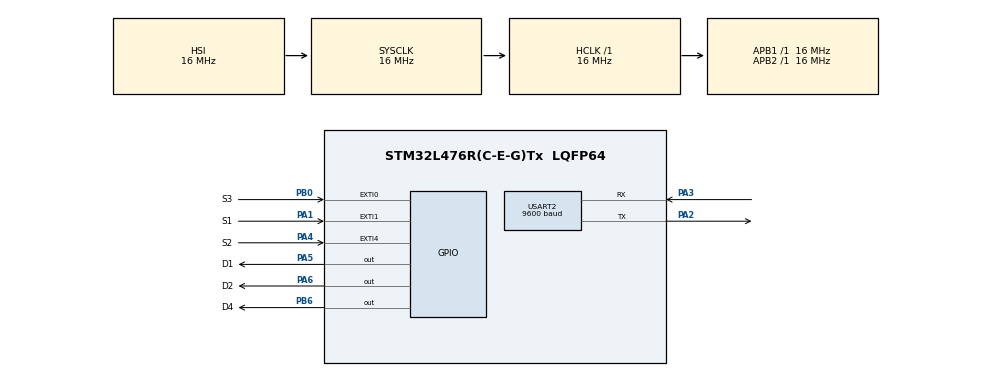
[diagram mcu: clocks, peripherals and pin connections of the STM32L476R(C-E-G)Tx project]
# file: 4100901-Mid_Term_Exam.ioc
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Mcu.Family=STM32L4
Mcu.Name=STM32L476R(C-E-G)Tx
Mcu.Package=LQFP64
NVIC.EXTI0_IRQn=true\:0\:0\:false\:false\:true\:true\:true\:true
NVIC.EXTI1_IRQn=true\:0\:0\:false\:false\:true\:true\:true\:true
NVIC.EXTI4_IRQn=true\:0\:0\:false\:false\:true\:true\:true\:true
NVIC.PriorityGroup=NVIC_PRIORITYGROUP_4
PA1.GPIO_Label=S1
PA1.Signal=GPXTI1
PA2.Mode=Asynchronous
PA2.Signal=USART2_TX
PA3.Mode=Asynchronous
PA3.Signal=USART2_RX
PA4.GPIO_Label=S2
PA4.Signal=GPXTI4
PA5.GPIO_Label=D1
PA5.PinState=GPIO_PIN_SET
PA5.Signal=GPIO_Output
PA6.GPIO_Label=D2
PA6.PinState=GPIO_PIN_SET
PA6.Signal=GPIO_Output
PB0.GPIO_Label=S3
PB0.Signal=GPXTI0
PB6.GPIO_Label=D4
PB6.PinState=GPIO_PIN_SET
PB6.Signal=GPIO_Output
ProjectManager.HeapSize=0x200
ProjectManager.StackSize=0x400
ProjectManager.TargetToolchain=STM32CubeIDE
RCC.AHBFreq_Value=16000000
RCC.APB1Freq_Value=16000000
RCC.APB1TimFreq_Value=16000000
RCC.APB2Freq_Value=16000000
RCC.APB2TimFreq_Value=16000000
RCC.CortexFreq_Value=16000000
RCC.HCLKFreq_Value=16000000
RCC.HSE_VALUE=8000000
RCC.HSI_VALUE=16000000
RCC.MSI_VALUE=4000000
RCC.SYSCLKFreq_VALUE=16000000
RCC.SYSCLKSource=RCC_SYSCLKSOURCE_HSI
RCC.VCOOutputFreq_Value=32000000
USART2.BaudRate=9600
USART2.VirtualMode-Asynchronous=VM_ASYNC
board=custom

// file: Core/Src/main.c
/* USER CODE BEGIN Header */
/**
  ******************************************************************************
  * @file           : main.c
  * @brief          : Main program body
  ******************************************************************************
  * @attention
  *
  * Copyright (c) 2024 STMicroelectronics.
  * All rights reserved.
  *
  * This software is licensed under terms that can be found in the LICENSE file
  * in the root directory of this software component.
  * If no LICENSE file comes with this software, it is provided AS-IS.
  *
  ******************************************************************************
  */
/* USER CODE END Header */
#include "main.h"

/* USER CODE BEGIN PV */
UART_HandleTypeDef huart2;
uint8_t cont_left = 0;
uint8_t cont_right = 0;
uint8_t cont_estationary = 0;
uint8_t status_stationary = 0;
uint8_t index = -1;
uint32_t last_press_time[3] = {0}; 	// Array que almacena el tiempo de A1, A2 y A3
uint32_t last_doble_time = 0;
uint8_t doble_iz = 0;
uint8_t doble_der = 0;
/* USER CODE END PV */

void SystemClock_Config(void);
static void MX_GPIO_Init(void);
static void MX_USART2_UART_Init(void);

/* USER CODE BEGIN 0 */
void HAL_GPIO_EXTI_Callback(uint16_t GPIO_Pin){
	UNUSED(GPIO_Pin);
	uint32_t current_time = HAL_GetTick();

	// Revisamos que boton pulsó, y si no se registra ninguno de los tres, no realiza ninguna acción y retorna un mensaje en el YAT: 'NULL'
	if(GPIO_Pin == S1_Pin){
		index = 0;
	}else if(GPIO_Pin == S2_Pin){
		index = 1;
	}else if(GPIO_Pin == S3_Pin){
		status_stationary = 1;
		index = 2;
	}else{
		HAL_UART_Transmit(&huart2, "NULL!!\r\n", 8,10);
		return;
	}

	  // Comprobamos el tiempo de la última pulsación con cierto tiempo para evitar el rebote
	  if(current_time - last_press_time[index] > 200){
		  last_press_time[index] = current_time; // Actualiza el tiempo

		  uint8_t doble_pulsacion_time = HAL_GetTick();
		  // Verificamos la doble pulsación
		  if(doble_pulsacion_time - last_doble_time <= 270){
			  last_doble_time = doble_pulsacion_time;

			  if(index == 0){
				  doble_iz = 1;
				  doble_der = 0;
				  HAL_UART_Transmit(&huart2, "Izquierda INDEFINIDA\r\n", 22,10);
			  }else if(index == 1){
				  doble_iz = 0;
				  doble_der = 1;
				  HAL_UART_Transmit(&huart2, "Derecha INDEFINIDA\r\n", 20,10);
			  }
		  }
		  else{
			  if(index == 0){
			  			  cont_left = 6;
			  			  cont_right = 0;
			  			  doble_iz = 0;
			  			  HAL_UART_Transmit(&huart2, "Direccional izquierda\r\n", 23,10);
			  		  }else if(index == 1){
			  			  cont_right = 6;
			  			  cont_left = 0;
			  			  HAL_UART_Transmit(&huart2, "Direccional derecha\r\n", 21,10);
			  		  }else{
			  			  cont_estationary = 6;
			  			  HAL_UART_Transmit(&huart2, "Estacionarias\r\n", 15,10);
			  		  }
		  }
	  }

}

// Configuración del hearbit a 2Hz
void heartbeat(void){
	static uint32_t tick = 0;
	if(tick < HAL_GetTick()){
		tick = HAL_GetTick() + 500;
		HAL_GPIO_TogglePin(D4_GPIO_Port, D4_Pin);
	}
}

// Configuración del la estacionaria izquierda a 2Hz
void signal_led_left(void){
	static uint32_t left_tick = 0;
	if(left_tick < HAL_GetTick()){
		if(cont_left > 0 || doble_iz == 1){
			left_tick =  HAL_GetTick() + 500;
			HAL_GPIO_TogglePin(D1_GPIO_Port, D1_Pin);
			cont_left--;
			HAL_GPIO_WritePin(D2_GPIO_Port, D2_Pin, 1);
		}else{
		HAL_GPIO_WritePin(D1_GPIO_Port, D1_Pin, 1);
		}
	}
}

// Configuración del la estacionaria derecha a 2Hz
void signal_led_right(void){
	static uint32_t right_tick = 0;
	if(right_tick < HAL_GetTick()){
		if(cont_right > 0 || doble_der == 1){
			right_tick =  HAL_GetTick() + 500;
			HAL_GPIO_TogglePin(D2_GPIO_Port, D2_Pin);
			cont_right--;
			HAL_GPIO_WritePin(D1_GPIO_Port, D1_Pin, 1);
		}else{
		HAL_GPIO_WritePin(D2_GPIO_Port, D2_Pin, 1);
		}
	}
}

// Creación de estacionarias:
void stationary(void){
	static uint32_t est_tick = 0;
	if(est_tick < HAL_GetTick()){
		if(status_stationary == 1 && cont_estationary > 0){
			est_tick =  HAL_GetTick() + 500;
			HAL_GPIO_TogglePin(D1_GPIO_Port, D1_Pin);
			HAL_GPIO_TogglePin(D2_GPIO_Port, D2_Pin);
			cont_estationary--;
		}else{
			HAL_GPIO_WritePin(D1_GPIO_Port, D1_Pin, 1);
			HAL_GPIO_WritePin(D2_GPIO_Port, D2_Pin, 1);
		}
	}
}

/* USER CODE END 0 */

int main(void)
{

  /* MCU Configuration--------------------------------------------------------*/

  /* Reset of all peripherals, Initializes the Flash interface and the Systick. */
  HAL_Init();

  /* Configure the system clock */
  SystemClock_Config();

  /* Initialize all configured peripherals */
  MX_GPIO_Init();
  MX_USART2_UART_Init();

  /* Infinite loop */
  /* USER CODE BEGIN WHILE */
  while (1)
  {
	  heartbeat();
	  if(index == 0){
		  signal_led_left();
	  }else if(index == 1){
		  signal_led_right();
	  }else if(index == 2){
		  stationary();
	  }
    /* USER CODE END WHILE */

  }
}

void SystemClock_Config(void)
{
  RCC_OscInitTypeDef RCC_OscInitStruct = {0};
  RCC_ClkInitTypeDef RCC_ClkInitStruct = {0};

  /** Configure the main internal regulator output voltage
  */
  if (HAL_PWREx_ControlVoltageScaling(PWR_REGULATOR_VOLTAGE_SCALE1) != HAL_OK)
  {
    Error_Handler();
  }

  /** Initializes the RCC Oscillators according to the specified parameters
  * in the RCC_OscInitTypeDef structure.
  */
  RCC_OscInitStruct.OscillatorType = RCC_OSCILLATORTYPE_HSI;
  RCC_OscInitStruct.HSIState = RCC_HSI_ON;
  RCC_OscInitStruct.HSICalibrationValue = RCC_HSICALIBRATION_DEFAULT;
  RCC_OscInitStruct.PLL.PLLState = RCC_PLL_NONE;
  if (HAL_RCC_OscConfig(&RCC_OscInitStruct) != HAL_OK)
  {
    Error_Handler();
  }

  /** Initializes the CPU, AHB and APB buses clocks
  */
  RCC_ClkInitStruct.ClockType = RCC_CLOCKTYPE_HCLK|RCC_CLOCKTYPE_SYSCLK
                              |RCC_CLOCKTYPE_PCLK1|RCC_CLOCKTYPE_PCLK2;
  RCC_ClkInitStruct.SYSCLKSource = RCC_SYSCLKSOURCE_HSI;
  RCC_ClkInitStruct.AHBCLKDivider = RCC_SYSCLK_DIV1;
  RCC_ClkInitStruct.APB1CLKDivider = RCC_HCLK_DIV1;
  RCC_ClkInitStruct.APB2CLKDivider = RCC_HCLK_DIV1;

  if (HAL_RCC_ClockConfig(&RCC_ClkInitStruct, FLASH_LATENCY_0) != HAL_OK)
  {
    Error_Handler();
  }
}

static void MX_USART2_UART_Init(void)
{

  huart2.Instance = USART2;
  huart2.Init.BaudRate = 9600;
  huart2.Init.WordLength = UART_WORDLENGTH_8B;
  huart2.Init.StopBits = UART_STOPBITS_1;
  huart2.Init.Parity = UART_PARITY_NONE;
  huart2.Init.Mode = UART_MODE_TX_RX;
  huart2.Init.HwFlowCtl = UART_HWCONTROL_NONE;
  huart2.Init.OverSampling = UART_OVERSAMPLING_16;
  huart2.Init.OneBitSampling = UART_ONE_BIT_SAMPLE_DISABLE;
  huart2.AdvancedInit.AdvFeatureInit = UART_ADVFEATURE_NO_INIT;
  if (HAL_UART_Init(&huart2) != HAL_OK)
  {
    Error_Handler();
  }

}

static void MX_GPIO_Init(void)
{
  GPIO_InitTypeDef GPIO_InitStruct = {0};

  /* GPIO Ports Clock Enable */
  __HAL_RCC_GPIOA_CLK_ENABLE();
  __HAL_RCC_GPIOB_CLK_ENABLE();

  /*Configure GPIO pin Output Level */
  HAL_GPIO_WritePin(GPIOA, D1_Pin|D2_Pin, GPIO_PIN_SET);

  /*Configure GPIO pin Output Level */
  HAL_GPIO_WritePin(D4_GPIO_Port, D4_Pin, GPIO_PIN_SET);

  /*Configure GPIO pins : S1_Pin S2_Pin */
  GPIO_InitStruct.Pin = S1_Pin|S2_Pin;
  GPIO_InitStruct.Mode = GPIO_MODE_IT_RISING;
  GPIO_InitStruct.Pull = GPIO_NOPULL;
  HAL_GPIO_Init(GPIOA, &GPIO_InitStruct);

  /*Configure GPIO pins : D1_Pin D2_Pin */
  GPIO_InitStruct.Pin = D1_Pin|D2_Pin;
  GPIO_InitStruct.Mode = GPIO_MODE_OUTPUT_PP;
  GPIO_InitStruct.Pull = GPIO_NOPULL;
  GPIO_InitStruct.Speed = GPIO_SPEED_FREQ_LOW;
  HAL_GPIO_Init(GPIOA, &GPIO_InitStruct);

  /*Configure GPIO pin : S3_Pin */
  GPIO_InitStruct.Pin = S3_Pin;
  GPIO_InitStruct.Mode = GPIO_MODE_IT_RISING;
  GPIO_InitStruct.Pull = GPIO_NOPULL;
  HAL_GPIO_Init(S3_GPIO_Port, &GPIO_InitStruct);

  /*Configure GPIO pin : D4_Pin */
  GPIO_InitStruct.Pin = D4_Pin;
  GPIO_InitStruct.Mode = GPIO_MODE_OUTPUT_PP;
  GPIO_InitStruct.Pull = GPIO_NOPULL;
  GPIO_InitStruct.Speed = GPIO_SPEED_FREQ_LOW;
  HAL_GPIO_Init(D4_GPIO_Port, &GPIO_InitStruct);

  /* EXTI interrupt init*/
  HAL_NVIC_SetPriority(EXTI0_IRQn, 0, 0);
  HAL_NVIC_EnableIRQ(EXTI0_IRQn);

  HAL_NVIC_SetPriority(EXTI1_IRQn, 0, 0);
  HAL_NVIC_EnableIRQ(EXTI1_IRQn);

  HAL_NVIC_SetPriority(EXTI4_IRQn, 0, 0);
  HAL_NVIC_EnableIRQ(EXTI4_IRQn);

}

void Error_Handler(void)
{
  __disable_irq();
  while (1)
  {
  }
}
